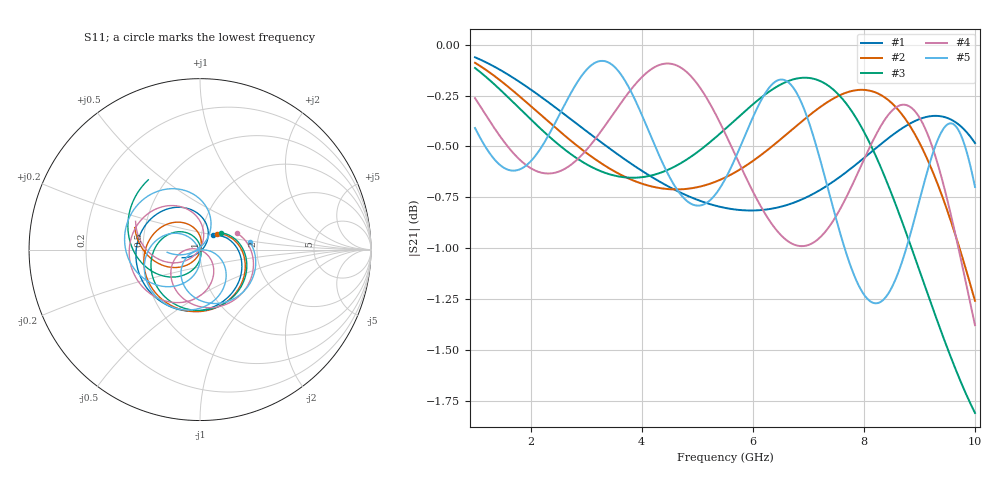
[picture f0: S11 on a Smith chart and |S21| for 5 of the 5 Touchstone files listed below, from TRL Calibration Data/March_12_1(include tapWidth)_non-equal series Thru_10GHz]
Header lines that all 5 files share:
! Touchstone file exported from HFSS 2018.2.0
!  File:  C:/Users/10024/OneDrive - The University of Nottingham Ningbo China/Year 4/Final Year Project/HFSS project/Passive_Resonator_Antenna.aedt
!  Design:  SMA_Thru
!  Project:  Passive_Resonator_Antenna
!  Setup:  Setup1
!  Solution:  Sweep
! Variables:
# GHZ S MA R 50.000000
! Modal data exported
! Port[1] = SMA_CONNECTOR1_1:1
! Port[2] = SMA_CONNECTOR2_1:1
Fixed: MW = 1mm, g = 0.2mm, subH = 0.8mm, subX = 20mm, tapW = 1mm
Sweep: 1 GHz to 10 GHz
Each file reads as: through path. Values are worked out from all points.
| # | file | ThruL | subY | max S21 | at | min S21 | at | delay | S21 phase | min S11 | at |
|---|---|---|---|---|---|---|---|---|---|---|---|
| 1 | 1mm.s2p | 1mm | 11mm | -0.06 dB | 1 GHz | -0.8 dB | 5.96 GHz | 116 ps | 129 deg at 5.5 GHz | -41.4 dB | 9.52 GHz |
| 2 | 3mm.s2p | 3mm | 13mm | -0.09 dB | 1 GHz | -1.3 dB | 10 GHz | 128 ps | 110 deg at 5.5 GHz | -46.9 dB | 8.14 GHz |
| 3 | 5mm.s2p | 5mm | 15mm | -0.11 dB | 1 GHz | -1.8 dB | 10 GHz | 139 ps | 89 deg at 5.5 GHz | -45.1 dB | 7.06 GHz |
| 4 | 13mm.s2p | 13mm | 23mm | -0.09 dB | 4.46 GHz | -1.4 dB | 10 GHz | 180 ps | 4 deg at 5.5 GHz | -49.8 dB | 4.5 GHz |
| 5 | 21mm.s2p | 21mm | 31mm | -0.08 dB | 3.28 GHz | -1.3 dB | 8.22 GHz | 221 ps | -73 deg at 5.5 GHz | -48.7 dB | 3.32 GHz |
